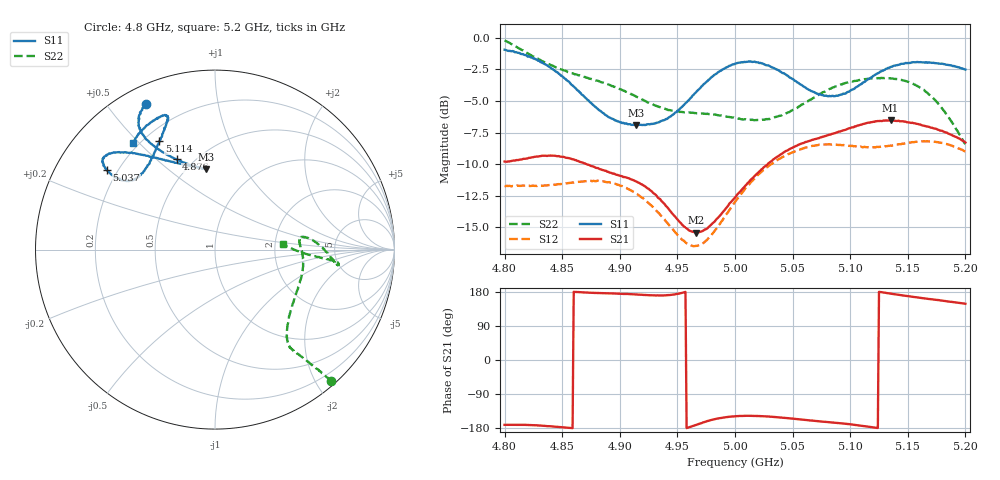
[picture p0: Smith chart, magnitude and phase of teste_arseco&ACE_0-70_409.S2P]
! Network Analyzer HP8722D
! Hewlett-Packard
! Data name: Linha & Wilkinson
! Saver's name: Rodrigo Anjos
! Comments: Teste da utilização de aquisição
! continua pelo VNA HP8722D
! Time and date: 8/5/2025 16:10
!  Frequency  S11  S21  S12  S22
# HZ  S  MA R 50
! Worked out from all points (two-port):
!   401 points, 4.8 GHz to 5.2 GHz, reference 50 ohm
!   highest |S21| = -6.52 dB at 5.135 GHz (marker M1); lowest = -15.4 dB at 4.966 GHz (marker M2)
!   |S21| within 3 dB of the highest: 4.821 GHz to 4.855 GHz (34.31 MHz wide, 0.709 % of centre); 5.035 GHz to end of sweep
!   lowest |S11| = -6.9 dB at 4.914 GHz (marker M3), VSWR 2.64, Z = 30.6 + j34.5 ohm
!   |S11| at or under -10 dB: nowhere
!   |S22| runs from -8.4 to -0.2 dB; largest |S21 - S12| = 0.83
!   S11 on the Smith chart (normalised r, x): 4.8 GHz: 0.08, +0.63; 4.876 GHz: 0.41, +0.58; 5.037 GHz: 0.16, +0.32; 5.114 GHz: 0.26, +0.58; 5.2 GHz: 0.18, +0.48
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4.8e9  0.8977 115.4  0.3237 -171.1  0.259 -86.6  0.9764 -48.4
4.832e9  0.8008 121.8  0.3407 -173.3  0.2596 -78.1  0.8114 -50.3
4.848e9  0.716 121.7  0.3386 -177.0  0.2631 -72.9  0.7532 -51.3
4.867e9  0.5956 117.0  0.3213 178.5  0.2699 -68.4  0.7052 -52.3
4.876e9  0.5465 113.1  0.3102 177.2  0.2704 -67.6  0.6862 -52.7
4.897e9  0.4702 101.9  0.2869 175.4  0.2634 -67.9  0.6362 -50.9
4.914e9  0.4508 96.2  0.2703 173.0  0.2414 -69.6  0.5861 -46.6
4.934e9  0.4633 100.5  0.2311 170.3  0.2022 -70.4  0.5326 -36.4
4.955e9  0.5388 115.3  0.1804 177.9  0.1578 -60.6  0.5077 -22.5
4.966e9  0.6075 122.7  0.1694 -171.3  0.15 -48.5  0.5035 -15.9
4.978e9  0.6864 129.0  0.1796 -159.6  0.163 -35.2  0.4991 -9.9
5e9  0.7897 137.1  0.2328 -148.5  0.2241 -22.0  0.4817 -0.3
5.018e9  0.8014 141.3  0.2866 -147.6  0.281 -19.6  0.4723 5.6
5.037e9  0.7469 143.7  0.3388 -150.9  0.3287 -19.9  0.4883 8.3
5.067e9  0.6144 141.7  0.3946 -159.9  0.3732 -22.4  0.5744 3.1
5.088e9  0.5902 132.3  0.4218 -165.9  0.3773 -25.6  0.6432 -3.6
5.114e9  0.678 117.2  0.4589 -175.2  0.3689 -28.3  0.6865 -7.1
5.134e9  0.7607 110.3  0.4703 175.6  0.3734 -30.5  0.6917 -6.4
5.135e9  0.7663 110.4  0.4719 175.2  0.3745 -30.5  0.6912 -6.3
5.162e9  0.8006 112.5  0.4507 163.5  0.3892 -37.5  0.6304 -4.9
5.178e9  0.7896 118.1  0.4289 157.3  0.3846 -42.6  0.5374 -3.5
5.2e9  0.7489 127.6  0.3852 148.3  0.3548 -48.6  0.3794 4.3
